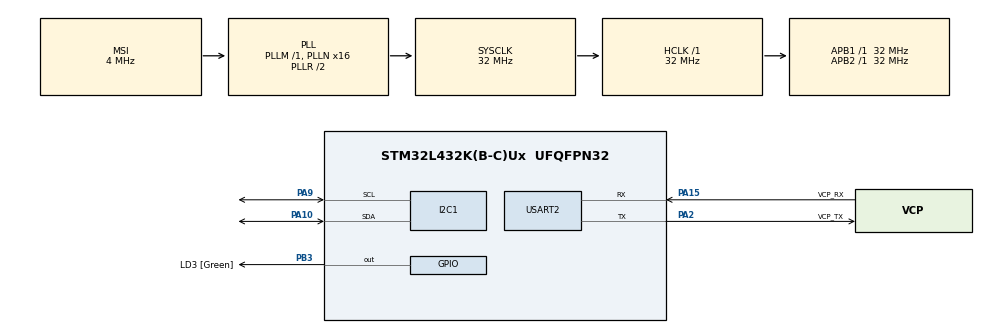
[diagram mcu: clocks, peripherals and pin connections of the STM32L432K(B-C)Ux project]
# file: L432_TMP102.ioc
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I2C1.Timing=0x00B07CB4
Mcu.Family=STM32L4
Mcu.Name=STM32L432K(B-C)Ux
Mcu.Package=UFQFPN32
NVIC.PriorityGroup=NVIC_PRIORITYGROUP_4
PA0.GPIO_Label=MCO [High speed clock in]
PA0.Mode=HSE-External-Clock-Source-for-LittleOrca
PA0.Signal=RCC_CK_IN
PA10.Mode=I2C
PA10.Signal=I2C1_SDA
PA13\ (JTMS-SWDIO).GPIO_Label=SWDIO
PA13\ (JTMS-SWDIO).Mode=Serial_Wire
PA13\ (JTMS-SWDIO).Signal=SYS_JTMS-SWDIO
PA14\ (JTCK-SWCLK).GPIO_Label=SWCLK
PA14\ (JTCK-SWCLK).Mode=Serial_Wire
PA14\ (JTCK-SWCLK).Signal=SYS_JTCK-SWCLK
PA15\ (JTDI).GPIO_Label=VCP_RX
PA15\ (JTDI).Mode=Asynchronous
PA15\ (JTDI).Signal=USART2_RX
PA2.GPIO_Label=VCP_TX
PA2.Mode=Asynchronous
PA2.Signal=USART2_TX
PA9.Mode=I2C
PA9.Signal=I2C1_SCL
PB3\ (JTDO-TRACESWO).GPIO_Label=LD3 [Green]
PB3\ (JTDO-TRACESWO).Signal=GPIO_Output
PC14-OSC32_IN\ (PC14).Mode=LSE-External-Oscillator
PC14-OSC32_IN\ (PC14).Signal=RCC_OSC32_IN
PC15-OSC32_OUT\ (PC15).Mode=LSE-External-Oscillator
PC15-OSC32_OUT\ (PC15).Signal=RCC_OSC32_OUT
ProjectManager.HeapSize=0x200
ProjectManager.StackSize=0x400
ProjectManager.TargetToolchain=STM32CubeIDE
RCC.AHBFreq_Value=32000000
RCC.APB1Freq_Value=32000000
RCC.APB1TimFreq_Value=32000000
RCC.APB2Freq_Value=32000000
RCC.APB2TimFreq_Value=32000000
RCC.CortexFreq_Value=32000000
RCC.HCLKFreq_Value=32000000
RCC.HSE_VALUE=8000000
RCC.HSI16_VALUE=16000000
RCC.HSI48_VALUE=48000000
RCC.HSI_VALUE=16000000
RCC.MSI_VALUE=4000000
RCC.PLLMUL=RCC_PLLMUL_4
RCC.PLLN=16
RCC.SYSCLKFreq_VALUE=32000000
RCC.SYSCLKSource=RCC_SYSCLKSOURCE_PLLCLK
RCC.VCOOutputFreq_Value=64000000
USART2.VirtualMode-Asynchronous=VM_ASYNC
board=NUCLEO-L432KC

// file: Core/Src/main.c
/* USER CODE BEGIN Header */
/**
  ******************************************************************************
  * @file           : main.c
  * @brief          : Main program body
  ******************************************************************************
  * @attention
  *
  * Copyright (c) 2026 STMicroelectronics.
  * All rights reserved.
  *
  * This software is licensed under terms that can be found in the LICENSE file
  * in the root directory of this software component.
  * If no LICENSE file comes with this software, it is provided AS-IS.
  *
  ******************************************************************************
  */
/* USER CODE END Header */
#include "main.h"

/* USER CODE BEGIN Includes */
#include <stdio.h>
#include <string.h>
#include <stdarg.h>
#include <stdint.h>
/* USER CODE END Includes */

I2C_HandleTypeDef hi2c1;

UART_HandleTypeDef huart2;

/* USER CODE BEGIN PV */
char UsrString[100] = {0};
static const uint8_t TMP102_ADDR = 0x48 << 1; // Use 8-bit address
static const uint8_t REG_TEMP = 0x00;
/* USER CODE END PV */

void SystemClock_Config(void);
static void MX_GPIO_Init(void);
static void MX_USART2_UART_Init(void);
static void MX_I2C1_Init(void);
/* USER CODE BEGIN PFP */
void PrintSerial(char *format,...);
/* USER CODE END PFP */

int main(void)
{

  /* USER CODE BEGIN 1 */
	  HAL_StatusTypeDef ret;
	  uint8_t buffer[16];
	  int16_t value;
	  float temp_c;
  /* USER CODE END 1 */

  /* MCU Configuration--------------------------------------------------------*/

  /* Reset of all peripherals, Initializes the Flash interface and the Systick. */
  HAL_Init();

  /* Configure the system clock */
  SystemClock_Config();

  /* Initialize all configured peripherals */
  MX_GPIO_Init();
  MX_USART2_UART_Init();
  MX_I2C1_Init();

  /* Infinite loop */
  /* USER CODE BEGIN WHILE */
  while (1)
  {

	      // Tell TMP102 that we want to read from the temperature register
	      buffer[0] = REG_TEMP;
	      ret = HAL_I2C_Master_Transmit(&hi2c1, TMP102_ADDR, buffer, 1, HAL_MAX_DELAY);
	      if ( ret != HAL_OK )
	      {
	        strcpy((char*)buffer, "Error Tx\r\n");
	      }
	      else
	      {

	        // Read 2 bytes from the temperature register
	        ret = HAL_I2C_Master_Receive(&hi2c1, TMP102_ADDR, buffer, 2, HAL_MAX_DELAY);

	        if ( ret != HAL_OK )
	        {
	          strcpy((char*)buffer, "Error Rx\r\n");
	        }
	        else
	        {

	          //Combine the bytes
	          value = ((int16_t)buffer[0] << 4) | (buffer[1] >> 4);

	          // Convert to 2's complement, since temperature can be negative
	          if ( value > 0x7FF )
	          {
	            value |= 0xF000;
	          }

	          // Convert to float temperature value (Celsius)
	          temp_c = value * 0.0625;

	          // Convert temperature to decimal format
	          temp_c *= 100;
	          sprintf((char*)buffer,
	                "%u.%u C\r\n",
	                ((unsigned int)temp_c / 100),
	                ((unsigned int)temp_c % 100));
	        }
	      }

	      // Send out buffer (temperature or error message)
	      HAL_UART_Transmit(&huart2, buffer, strlen((char*)buffer), HAL_MAX_DELAY);

	      // hold the boat
	      HAL_Delay(2000);

    /* USER CODE END WHILE */

  }
}

void SystemClock_Config(void)
{
  RCC_OscInitTypeDef RCC_OscInitStruct = {0};
  RCC_ClkInitTypeDef RCC_ClkInitStruct = {0};

  /** Configure the main internal regulator output voltage
  */
  if (HAL_PWREx_ControlVoltageScaling(PWR_REGULATOR_VOLTAGE_SCALE1) != HAL_OK)
  {
    Error_Handler();
  }

  /** Configure LSE Drive Capability
  */
  HAL_PWR_EnableBkUpAccess();
  __HAL_RCC_LSEDRIVE_CONFIG(RCC_LSEDRIVE_LOW);

  /** Initializes the RCC Oscillators according to the specified parameters
  * in the RCC_OscInitTypeDef structure.
  */
  RCC_OscInitStruct.OscillatorType = RCC_OSCILLATORTYPE_LSE|RCC_OSCILLATORTYPE_MSI;
  RCC_OscInitStruct.LSEState = RCC_LSE_ON;
  RCC_OscInitStruct.MSIState = RCC_MSI_ON;
  RCC_OscInitStruct.MSICalibrationValue = 0;
  RCC_OscInitStruct.MSIClockRange = RCC_MSIRANGE_6;
  RCC_OscInitStruct.PLL.PLLState = RCC_PLL_ON;
  RCC_OscInitStruct.PLL.PLLSource = RCC_PLLSOURCE_MSI;
  RCC_OscInitStruct.PLL.PLLM = 1;
  RCC_OscInitStruct.PLL.PLLN = 16;
  RCC_OscInitStruct.PLL.PLLP = RCC_PLLP_DIV7;
  RCC_OscInitStruct.PLL.PLLQ = RCC_PLLQ_DIV2;
  RCC_OscInitStruct.PLL.PLLR = RCC_PLLR_DIV2;
  if (HAL_RCC_OscConfig(&RCC_OscInitStruct) != HAL_OK)
  {
    Error_Handler();
  }

  /** Initializes the CPU, AHB and APB buses clocks
  */
  RCC_ClkInitStruct.ClockType = RCC_CLOCKTYPE_HCLK|RCC_CLOCKTYPE_SYSCLK
                              |RCC_CLOCKTYPE_PCLK1|RCC_CLOCKTYPE_PCLK2;
  RCC_ClkInitStruct.SYSCLKSource = RCC_SYSCLKSOURCE_PLLCLK;
  RCC_ClkInitStruct.AHBCLKDivider = RCC_SYSCLK_DIV1;
  RCC_ClkInitStruct.APB1CLKDivider = RCC_HCLK_DIV1;
  RCC_ClkInitStruct.APB2CLKDivider = RCC_HCLK_DIV1;

  if (HAL_RCC_ClockConfig(&RCC_ClkInitStruct, FLASH_LATENCY_1) != HAL_OK)
  {
    Error_Handler();
  }

  /** Enable MSI Auto calibration
  */
  HAL_RCCEx_EnableMSIPLLMode();
}

static void MX_I2C1_Init(void)
{

  hi2c1.Instance = I2C1;
  hi2c1.Init.Timing = 0x00B07CB4;
  hi2c1.Init.OwnAddress1 = 0;
  hi2c1.Init.AddressingMode = I2C_ADDRESSINGMODE_7BIT;
  hi2c1.Init.DualAddressMode = I2C_DUALADDRESS_DISABLE;
  hi2c1.Init.OwnAddress2 = 0;
  hi2c1.Init.OwnAddress2Masks = I2C_OA2_NOMASK;
  hi2c1.Init.GeneralCallMode = I2C_GENERALCALL_DISABLE;
  hi2c1.Init.NoStretchMode = I2C_NOSTRETCH_DISABLE;
  if (HAL_I2C_Init(&hi2c1) != HAL_OK)
  {
    Error_Handler();
  }

  /** Configure Analogue filter
  */
  if (HAL_I2CEx_ConfigAnalogFilter(&hi2c1, I2C_ANALOGFILTER_ENABLE) != HAL_OK)
  {
    Error_Handler();
  }

  /** Configure Digital filter
  */
  if (HAL_I2CEx_ConfigDigitalFilter(&hi2c1, 0) != HAL_OK)
  {
    Error_Handler();
  }

}

static void MX_USART2_UART_Init(void)
{

  huart2.Instance = USART2;
  huart2.Init.BaudRate = 115200;
  huart2.Init.WordLength = UART_WORDLENGTH_8B;
  huart2.Init.StopBits = UART_STOPBITS_1;
  huart2.Init.Parity = UART_PARITY_NONE;
  huart2.Init.Mode = UART_MODE_TX_RX;
  huart2.Init.HwFlowCtl = UART_HWCONTROL_NONE;
  huart2.Init.OverSampling = UART_OVERSAMPLING_16;
  huart2.Init.OneBitSampling = UART_ONE_BIT_SAMPLE_DISABLE;
  huart2.AdvancedInit.AdvFeatureInit = UART_ADVFEATURE_NO_INIT;
  if (HAL_UART_Init(&huart2) != HAL_OK)
  {
    Error_Handler();
  }

}

static void MX_GPIO_Init(void)
{
  GPIO_InitTypeDef GPIO_InitStruct = {0};

  /* GPIO Ports Clock Enable */
  __HAL_RCC_GPIOC_CLK_ENABLE();
  __HAL_RCC_GPIOA_CLK_ENABLE();
  __HAL_RCC_GPIOB_CLK_ENABLE();

  /*Configure GPIO pin Output Level */
  HAL_GPIO_WritePin(LD3_GPIO_Port, LD3_Pin, GPIO_PIN_RESET);

  /*Configure GPIO pin : LD3_Pin */
  GPIO_InitStruct.Pin = LD3_Pin;
  GPIO_InitStruct.Mode = GPIO_MODE_OUTPUT_PP;
  GPIO_InitStruct.Pull = GPIO_NOPULL;
  GPIO_InitStruct.Speed = GPIO_SPEED_FREQ_LOW;
  HAL_GPIO_Init(LD3_GPIO_Port, &GPIO_InitStruct);

}

/* USER CODE BEGIN 4 */
void PrintSerial(char *format,...)
{

	char str[80];

	/*Extract the the argument list using VA apis */
  	va_list args;
  	va_start(args, format);
  	vsprintf(str, format,args);
  	HAL_UART_Transmit(&huart2,(uint8_t *)str, strlen(str),HAL_MAX_DELAY);
  	va_end(args);

}
/* USER CODE END 4 */

void Error_Handler(void)
{
  __disable_irq();
  while (1)
  {
  }
}
